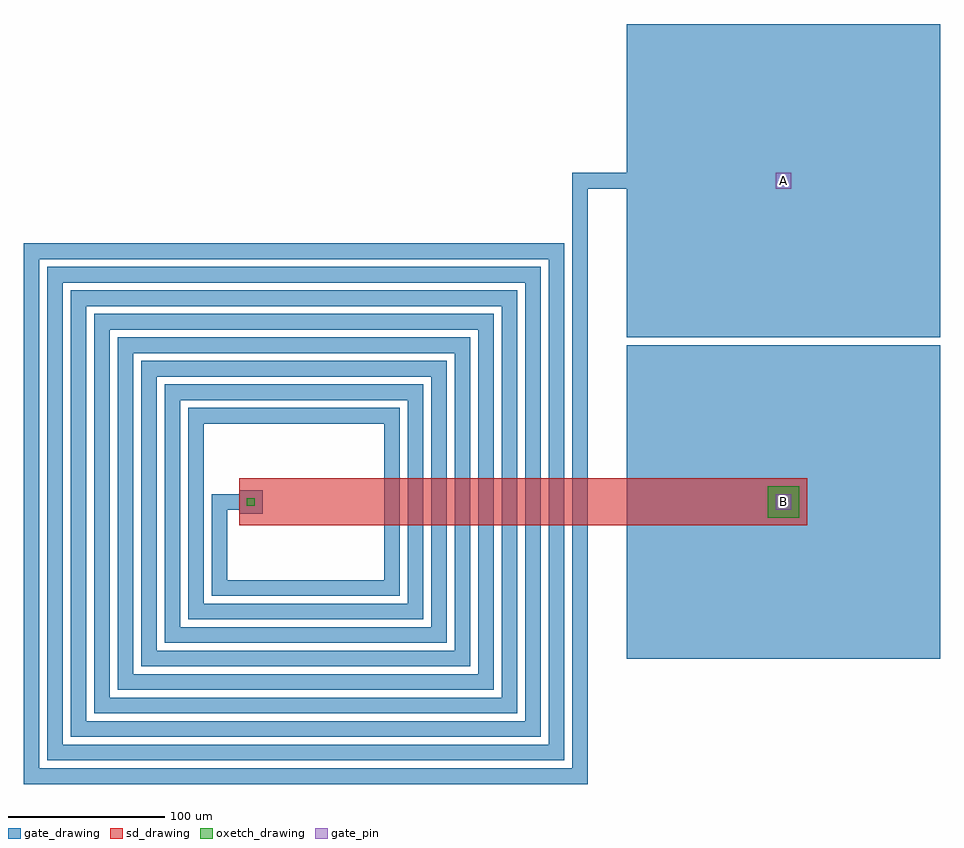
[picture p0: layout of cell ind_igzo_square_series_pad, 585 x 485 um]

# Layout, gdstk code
import gdstk
lib = gdstk.Library(unit=1e-6, precision=1e-09)
def R(c, l, rs):  # rectangles x0, y0, x1, y1
    for r in rs: c.add(gdstk.rectangle(r[:2], r[2:], *l))
def P(c, l, *ps):  # polygons
    for p in ps: c.add(gdstk.Polygon(p, *l))
gate_drawing = (2, 0)
gate_pin = (2, 10)
oxetch_drawing = (5, 0)
sd_drawing = (6, 0)

ind_igzo_square_series_p = lib.new_cell('ind_igzo_square_series_pad')
R(ind_igzo_square_series_p, gate_drawing, [(205,-100,405,100), (290,-15,320,15), (-42.5,-7.5,-27.5,7.5), (-60,-5,-35,5), (205,105,405,305), (175,200,305,210)])
P(ind_igzo_square_series_p, gate_drawing, [(-180,-180),(-180,165),(165,165),(165,-165),(-165,-165),(-165,150),(150,150),(150,-150),(-150,-150),(-150,135),(135,135),(135,-135),(-135,-135),(-135,120),(120,120),(120,-120),(-120,-120),(-120,105),(105,105),(105,-105),(-105,-105),(-105,90),(90,90),(90,-90),(-90,-90),(-90,75),(75,75),(75,-75),(-75,-75),(-75,60),(60,60),(60,-60),(-60,-60),(-60,1),(-50,1),(-50,-50),(50,-50),(50,50),(-65,50),(-65,-65),(65,-65),(65,65),(-80,65),(-80,-80),(80,-80),(80,80),(-95,80),(-95,-95),(95,-95),(95,95),(-110,95),(-110,-110),(110,-110),(110,110),(-125,110),(-125,-125),(125,-125),(125,125),(-140,125),(-140,-140),(140,-140),(140,140),(-155,140),(-155,-155),(155,-155),(155,155),(-170,155),(-170,-170),(170,-170),(170,210),(215,210),(215,200),(180,200),(180,-180)])
R(ind_igzo_square_series_p, gate_pin, [(300,-5,310,5), (300,200,310,210)])
R(ind_igzo_square_series_p, oxetch_drawing, [(295,-10,315,10), (-37.5,-2.5,-32.5,2.5)])
R(ind_igzo_square_series_p, sd_drawing, [(-42.5,-15,320,15)])
ind_igzo_square_series_p.add(gdstk.Label('A', (305,205), layer=2, texttype=10))
ind_igzo_square_series_p.add(gdstk.Label('B', (305,0), layer=2, texttype=10))
ind_igzo_square_series_p.add(gdstk.Label('ind_igzo 16.38nH / 387.8Ohm @ 100MHz / Q 0.03', (0,-205), layer=63, texttype=0))

lib.write_gds('ind_igzo_square_series_pad.gds')
